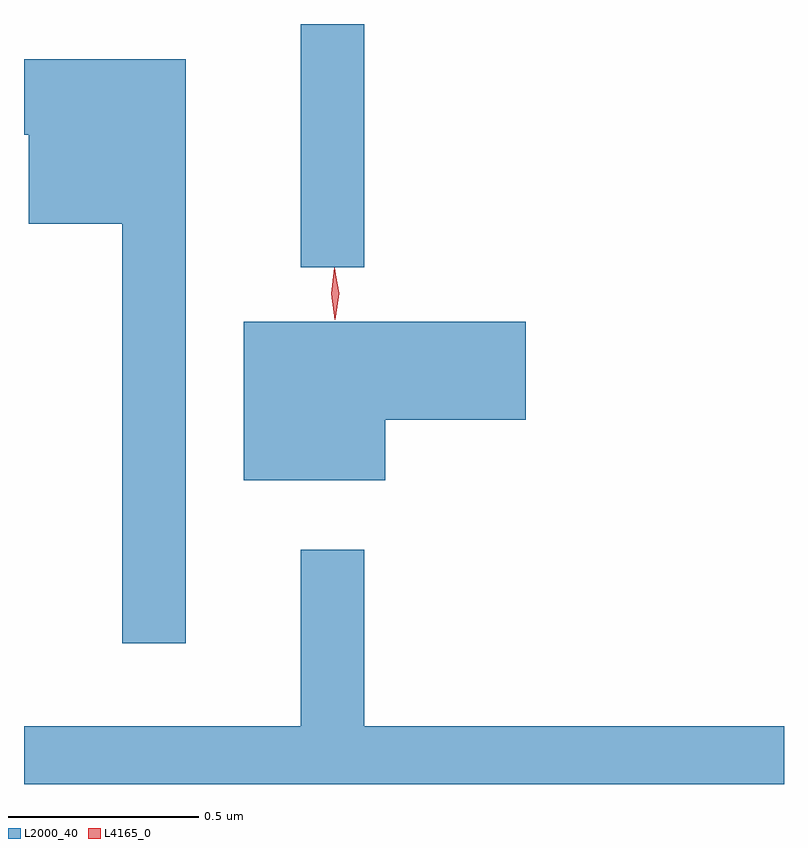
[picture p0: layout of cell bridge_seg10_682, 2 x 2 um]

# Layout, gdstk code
import gdstk
lib = gdstk.Library(unit=1e-6, precision=1e-09)
def R(c, l, rs):  # rectangles x0, y0, x1, y1
    for r in rs: c.add(gdstk.rectangle(r[:2], r[2:], *l))
def P(c, l, *ps):  # polygons
    for p in ps: c.add(gdstk.Polygon(p, *l))
L2000_40 = (2000, 40)
L4165_0 = (4165, 0)

bridge_seg10_682 = lib.new_cell('bridge_seg10_682')
R(bridge_seg10_682, L2000_40, [(1055.911,2090.972,1056.079,2091.612)])
P(bridge_seg10_682, L2000_40, [(1055.609,2091.519),(1055.183,2091.519),(1055.183,2091.321),(1055.196,2091.321),(1055.196,2091.086),(1055.441,2091.086),(1055.441,2089.983),(1055.609,2089.983)],
  [(1056.134,2090.571),(1056.504,2090.571),(1056.504,2090.829),(1055.761,2090.829),(1055.761,2090.411),(1056.134,2090.411)],
  [(1057.183,2089.764),(1056.079,2089.764),(1056.079,2090.228),(1055.911,2090.228),(1055.911,2089.764),(1055.183,2089.764),(1055.183,2089.612),(1057.183,2089.612)])
P(bridge_seg10_682, L4165_0, [(1056.001,2090.834),(1055.991,2090.902),(1056,2090.97),(1056.001,2090.97),(1056.001,2090.97),(1056.011,2090.902),(1056.002,2090.834),(1056.002,2090.834)],
  [(1056.002,2090.84),(1056.002,2090.841),(1055.992,2090.903),(1056,2090.966),(1056.001,2090.967),(1056.001,2090.966),(1056.012,2090.904),(1056.003,2090.841)])

lib.write_gds('bridge_seg10_682.gds')
